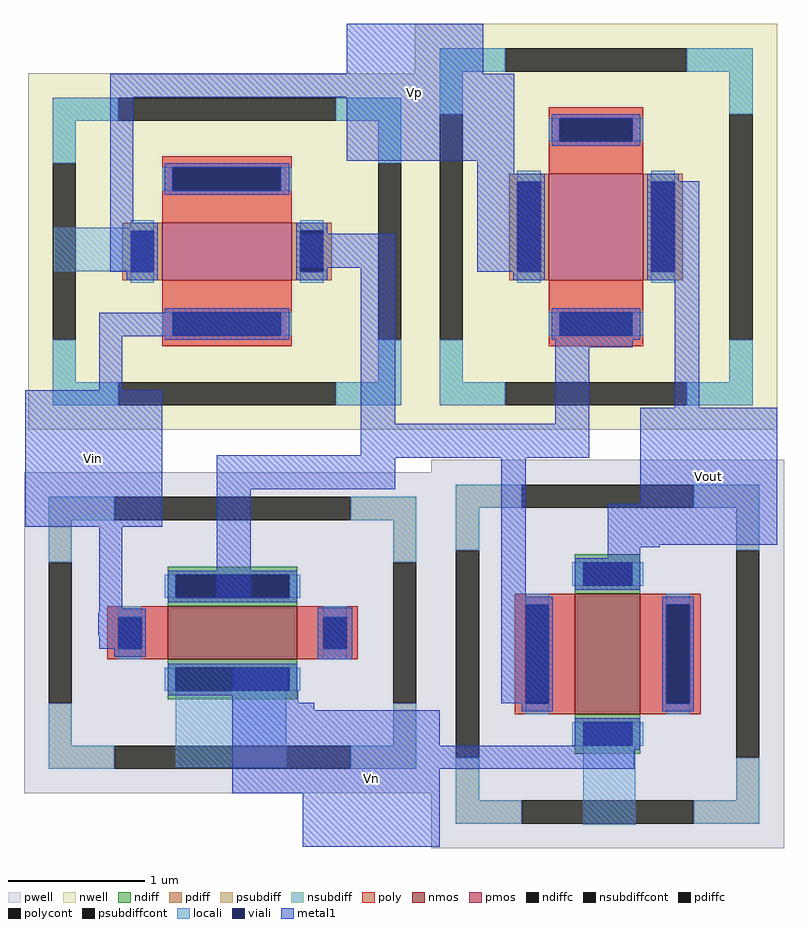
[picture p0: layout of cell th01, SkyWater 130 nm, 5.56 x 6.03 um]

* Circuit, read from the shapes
.subckt th01 Vp Vin Vout Vn
XM1 n1 Vin Vn Vn sky130_fd_pr__nfet_01v8 w=0.95 l=0.39
XM2 Vout n1 Vn Vn sky130_fd_pr__nfet_01v8 w=0.48 l=0.88
XM3 n1 Vin Vp Vp sky130_fd_pr__pfet_01v8 w=0.42 l=0.95
XM4 Vout n1 Vp Vp sky130_fd_pr__pfet_01v8 w=0.78 l=0.69
.ends

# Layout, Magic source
magic
tech sky130A
magscale 1 2
<< pwell >>
rect 560 -160 594 -114
rect 880 -176 930 -100
<< locali >>
rect 494 392 638 456
rect 672 -334 834 -188
rect 1268 -418 1344 -268
<< metal1 >>
rect 922 681 1122 754
rect 576 647 1167 681
rect 576 453 610 647
rect 922 554 1167 647
rect 1113 525 1167 554
rect 576 391 641 453
rect 855 397 993 447
rect 560 297 827 331
rect 560 218 594 297
rect 452 18 652 218
rect 943 169 993 397
rect 1113 391 1205 525
rect 1368 390 1438 524
rect 1227 281 1341 331
rect 1227 169 1277 281
rect 1402 192 1438 390
rect 943 123 1277 169
rect 732 119 1277 123
rect 732 73 993 119
rect 560 -107 594 18
rect 732 -84 782 73
rect 1148 -94 1184 119
rect 1352 52 1552 192
rect 1304 -8 1552 52
rect 1304 -12 1380 -8
rect 1304 -34 1352 -12
rect 1268 -70 1352 -34
rect 559 -141 621 -107
rect 560 -159 621 -141
rect 560 -160 594 -159
rect 880 -176 930 -100
rect 755 -215 837 -189
rect 755 -221 843 -215
rect 755 -239 851 -221
rect 1148 -238 1218 -94
rect 755 -250 875 -239
rect 1148 -240 1182 -238
rect 755 -302 1058 -250
rect 1265 -302 1343 -269
rect 755 -336 1343 -302
rect 755 -372 1058 -336
rect 858 -450 1058 -372
use sky130_fd_pr__pfet_01v8_9DPZTU  XM2
transform 1 0 747 0 1 421
box -291 -261 291 261
use sky130_fd_pr__nfet_01v8_586EUA  XM3
transform 0 -1 755 1 0 -137
box -235 -305 235 305
use sky130_fd_pr__nfet_01v8_PJBF84  XM4
transform 0 -1 1304 1 0 -168
box -284 -258 284 258
use sky130_fd_pr__pfet_01v8_RVEGTV  XM5
transform 1 0 1287 0 1 457
box -265 -297 265 297
<< labels >>
flabel metal1 452 18 652 218 0 FreeSans 256 0 0 0 Vin
port 1 nsew
flabel metal1 1352 -8 1552 192 0 FreeSans 256 0 0 0 Vout
port 2 nsew
flabel metal1 858 -450 1058 -250 0 FreeSans 256 0 0 0 Vn
port 3 nsew
flabel metal1 922 554 1122 754 0 FreeSans 256 0 0 0 Vp
port 0 nsew
<< end >>

# cell sky130_fd_pr__pfet_01v8_9DPZTU: kit device sky130_fd_pr__pfet_01v8, w 0.422 l 0.946 m 1 nf 1 diffcov 100 polycov 100 guard 1 glc 1 grc 1 gtc 1 gbc 1 tbcov 100 rlcov 100 topc 1 botc 1 poverlap 0 doverlap 1 lmin 0.15 wmin 0.42 compatible {sky130_fd_pr__pfet_01v8 sky130_fd_pr__pfet_01v8_lvt sky130_fd_pr__pfet_01v8_hvt sky130_fd_pr__pfet_g5v0d10v5} full_metal 1 viasrc 100 viadrn 100 viagate 100 viagb 0 viagr 0 viagl 0 viagt 0

# cell sky130_fd_pr__nfet_01v8_586EUA: kit device sky130_fd_pr__nfet_01v8, w 0.95 l 0.39 m 1 nf 1 diffcov 100 polycov 100 guard 1 glc 1 grc 1 gtc 1 gbc 1 tbcov 100 rlcov 100 topc 1 botc 1 poverlap 0 doverlap 1 lmin 0.15 wmin 0.42 compatible {sky130_fd_pr__nfet_01v8 sky130_fd_pr__nfet_01v8_lvt sky130_fd_bs_flash__special_sonosfet_star sky130_fd_pr__nfet_g5v0d10v5 sky130_fd_pr__nfet_05v0_nvt sky130_fd_pr__nfet_03v3_nvt} full_metal 1 viasrc 100 viadrn 100 viagate 100 viagb 0 viagr 0 viagl 0 viagt 0

# cell sky130_fd_pr__nfet_01v8_PJBF84: kit device sky130_fd_pr__nfet_01v8, w 0.48 l 0.88 m 1 nf 1 diffcov 100 polycov 100 guard 1 glc 1 grc 1 gtc 1 gbc 1 tbcov 100 rlcov 100 topc 1 botc 1 poverlap 0 doverlap 1 lmin 0.15 wmin 0.42 compatible {sky130_fd_pr__nfet_01v8 sky130_fd_pr__nfet_01v8_lvt sky130_fd_bs_flash__special_sonosfet_star sky130_fd_pr__nfet_g5v0d10v5 sky130_fd_pr__nfet_05v0_nvt sky130_fd_pr__nfet_03v3_nvt} full_metal 1 viasrc 100 viadrn 100 viagate 100 viagb 0 viagr 0 viagl 0 viagt 0

# cell sky130_fd_pr__pfet_01v8_RVEGTV: kit device sky130_fd_pr__pfet_01v8, w 0.78 l 0.69 m 1 nf 1 diffcov 100 polycov 100 guard 1 glc 1 grc 1 gtc 1 gbc 1 tbcov 100 rlcov 100 topc 1 botc 1 poverlap 0 doverlap 1 lmin 0.15 wmin 0.42 compatible {sky130_fd_pr__pfet_01v8 sky130_fd_pr__pfet_01v8_lvt sky130_fd_pr__pfet_01v8_hvt sky130_fd_pr__pfet_g5v0d10v5} full_metal 1 viasrc 100 viadrn 100 viagate 100 viagb 0 viagr 0 viagl 0 viagt 0
